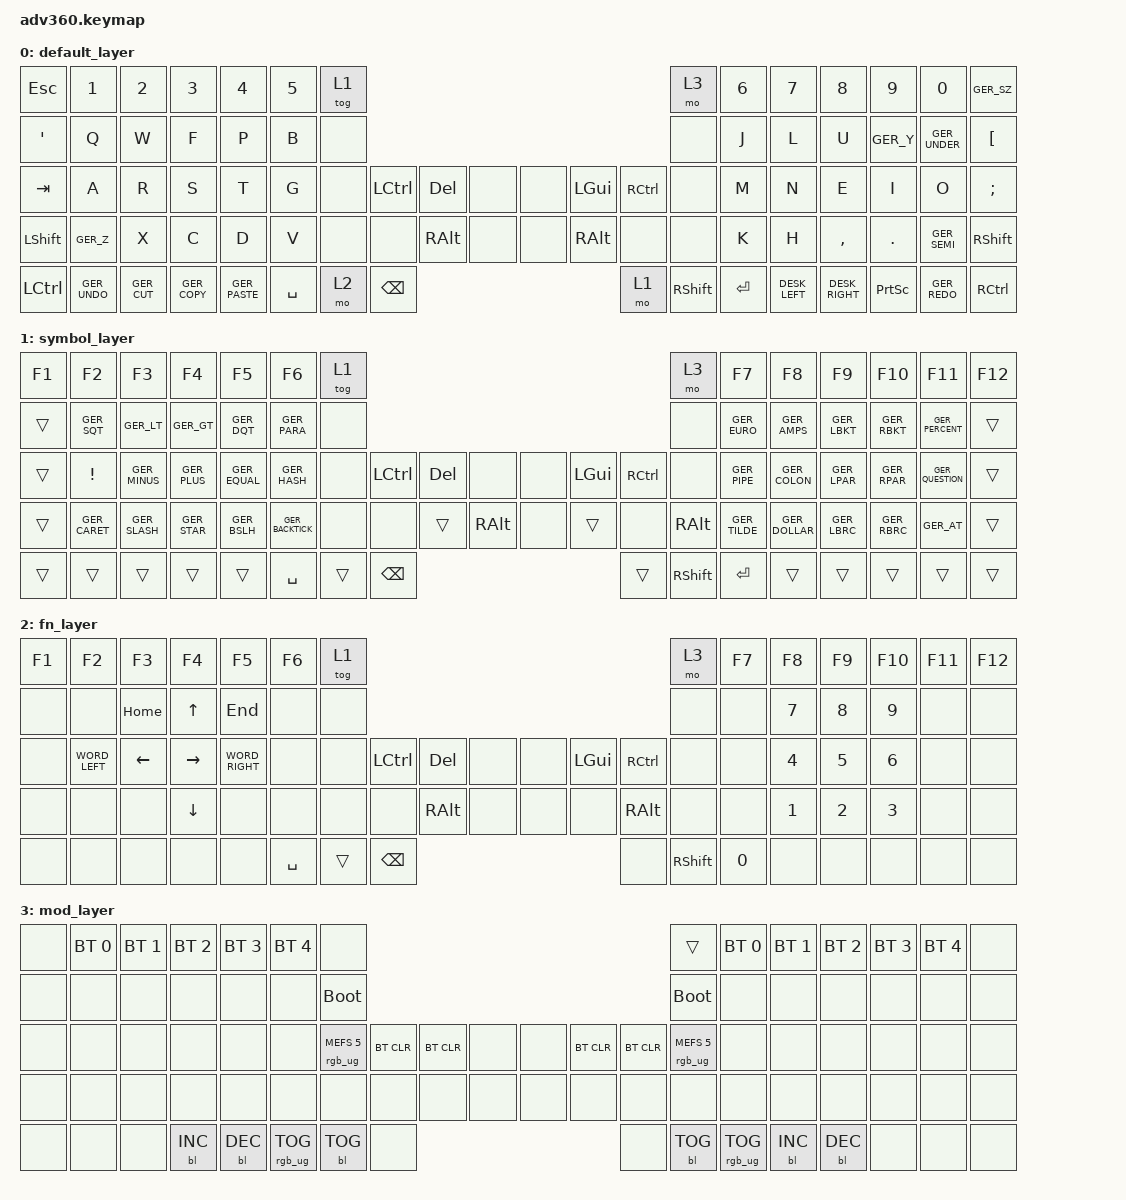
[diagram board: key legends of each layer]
/* Defines Colemak-DHm for programmers with german characters on a Kinesis Advantage 360 */
/* Intended to use with the german keyboard layout. */

/* standard includes for keys, bluetooth, rgb and backlight */
#include <behaviors.dtsi>
#include <dt-bindings/zmk/keys.h>
#include <dt-bindings/zmk/bt.h>
#include <dt-bindings/zmk/rgb.h>
#include <dt-bindings/zmk/backlight.h>

/* Include zmk-nodefree macros for convenience */
#include "../zmk-nodefree-config/helper.h"
#include "../zmk-nodefree-config/keypos_def/keypos_adv360.h"
#include "../zmk-nodefree-config/international_chars/german_alt.dtsi"

/* layer and key shortcuts */
#define ___ &trans
#define DEF 0
#define NAV 1
#define NUM 2
#define GER 3

/* custom behaviors */

// homerow mods
ZMK_BEHAVIOR(hrm, hold_tap,
    flavor = "balanced";
    tapping-term-ms = <280>;
    quick-tap-ms = <125>;
    global-quick-tap;
    bindings = <&kp>, <&kp>;
)

#define GER_Y (ZMK_HID_USAGE(HID_USAGE_KEY, HID_USAGE_KEY_KEYBOARD_Z))
#define GER_Z (ZMK_HID_USAGE(HID_USAGE_KEY, HID_USAGE_KEY_KEYBOARD_Y))

#define GERS_A (LS(ZMK_HID_USAGE(HID_USAGE_KEY, HID_USAGE_KEY_KEYBOARD_A)))
#define GERS_B (LS(ZMK_HID_USAGE(HID_USAGE_KEY, HID_USAGE_KEY_KEYBOARD_B)))
#define GERS_C (LS(ZMK_HID_USAGE(HID_USAGE_KEY, HID_USAGE_KEY_KEYBOARD_C)))
#define GERS_D (LS(ZMK_HID_USAGE(HID_USAGE_KEY, HID_USAGE_KEY_KEYBOARD_D)))
#define GERS_E (LS(ZMK_HID_USAGE(HID_USAGE_KEY, HID_USAGE_KEY_KEYBOARD_E)))
#define GERS_F (LS(ZMK_HID_USAGE(HID_USAGE_KEY, HID_USAGE_KEY_KEYBOARD_F)))
#define GERS_G (LS(ZMK_HID_USAGE(HID_USAGE_KEY, HID_USAGE_KEY_KEYBOARD_G)))
#define GERS_H (LS(ZMK_HID_USAGE(HID_USAGE_KEY, HID_USAGE_KEY_KEYBOARD_H)))
#define GERS_I (LS(ZMK_HID_USAGE(HID_USAGE_KEY, HID_USAGE_KEY_KEYBOARD_I)))
#define GERS_J (LS(ZMK_HID_USAGE(HID_USAGE_KEY, HID_USAGE_KEY_KEYBOARD_J)))
#define GERS_K (LS(ZMK_HID_USAGE(HID_USAGE_KEY, HID_USAGE_KEY_KEYBOARD_K)))
#define GERS_L (LS(ZMK_HID_USAGE(HID_USAGE_KEY, HID_USAGE_KEY_KEYBOARD_L)))
#define GERS_M (LS(ZMK_HID_USAGE(HID_USAGE_KEY, HID_USAGE_KEY_KEYBOARD_M)))
#define GERS_N (LS(ZMK_HID_USAGE(HID_USAGE_KEY, HID_USAGE_KEY_KEYBOARD_N)))
#define GERS_O (LS(ZMK_HID_USAGE(HID_USAGE_KEY, HID_USAGE_KEY_KEYBOARD_O)))
#define GERS_P (LS(ZMK_HID_USAGE(HID_USAGE_KEY, HID_USAGE_KEY_KEYBOARD_P)))
#define GERS_Q (LS(ZMK_HID_USAGE(HID_USAGE_KEY, HID_USAGE_KEY_KEYBOARD_Q)))
#define GERS_R (LS(ZMK_HID_USAGE(HID_USAGE_KEY, HID_USAGE_KEY_KEYBOARD_R)))
#define GERS_S (LS(ZMK_HID_USAGE(HID_USAGE_KEY, HID_USAGE_KEY_KEYBOARD_S)))
#define GERS_T (LS(ZMK_HID_USAGE(HID_USAGE_KEY, HID_USAGE_KEY_KEYBOARD_T)))
#define GERS_U (LS(ZMK_HID_USAGE(HID_USAGE_KEY, HID_USAGE_KEY_KEYBOARD_U)))
#define GERS_V (LS(ZMK_HID_USAGE(HID_USAGE_KEY, HID_USAGE_KEY_KEYBOARD_V)))
#define GERS_W (LS(ZMK_HID_USAGE(HID_USAGE_KEY, HID_USAGE_KEY_KEYBOARD_W)))
#define GERS_X (LS(ZMK_HID_USAGE(HID_USAGE_KEY, HID_USAGE_KEY_KEYBOARD_X)))
#define GERS_Y (LS(ZMK_HID_USAGE(HID_USAGE_KEY, HID_USAGE_KEY_KEYBOARD_Z)))
#define GERS_Z (LS(ZMK_HID_USAGE(HID_USAGE_KEY, HID_USAGE_KEY_KEYBOARD_Y)))

/* German ä */
#define GER_UA (SINGLE_QUOTE)

/* German ü */
#define GER_UU (LEFT_BRACKET)

/* German ö */
#define GER_UO (SEMICOLON)

/* German ß */
#define GER_SZ (MINUS)

/* German Ä */
#define GERS_UA (LS(SINGLE_QUOTE))

/* German Ü */
#define GERS_UU (LS(ZMK_HID_USAGE(HID_USAGE_KEY, HID_USAGE_KEY_KEYBOARD_LEFT_BRACKET_AND_LEFT_BRACE)))

/* German Ö */
#define GERS_UO (LS(ZMK_HID_USAGE(HID_USAGE_KEY, HID_USAGE_KEY_KEYBOARD_SEMICOLON_AND_COLON)))

/* German ; */
#define GER_SEMI (LESS_THAN)

/* German § */
#define GER_PARA (HASH)

/* German ' */
#define GER_SQT (PIPE)

/* German < */
#define GER_LT (ZMK_HID_USAGE(HID_USAGE_KEY, HID_USAGE_KEY_KEYBOARD_NON_US_BACKSLASH_AND_PIPE))

/* German > */
#define GER_GT (LS(ZMK_HID_USAGE(HID_USAGE_KEY, HID_USAGE_KEY_KEYBOARD_NON_US_BACKSLASH_AND_PIPE)))

/* German - */
#define GER_MINUS (SLASH)

// German + */
#define GER_PLUS (RBKT)

/* German * (star) */
#define GER_STAR (RBRC)

/* German / */
#define GER_SLASH (AMPERSAND)

/* German _ */
#define GER_UNDER (QUESTION)

/* German " */
#define GER_DQT (AT)

/* German = */
#define GER_EQUAL (LS(ZMK_HID_USAGE(HID_USAGE_KEY, HID_USAGE_KEY_KEYBOARD_0_AND_RIGHT_PARENTHESIS)))

/* German \ */
#define GER_BSLH (RA(ZMK_HID_USAGE(HID_USAGE_KEY, HID_USAGE_KEY_KEYBOARD_MINUS_AND_UNDERSCORE)))

/* German . */
#define GER_DOT (DOT)

/* German # */
#define GER_HASH (BSLH)

/* German & */
#define GER_AMPS (CARET)

/* German € */
#define GER_EURO (RA(ZMK_HID_USAGE(HID_USAGE_KEY, HID_USAGE_KEY_KEYBOARD_E)))

/* German | */
#define GER_PIPE (RA(ZMK_HID_USAGE(HID_USAGE_KEY, HID_USAGE_KEY_KEYBOARD_NON_US_BACKSLASH_AND_PIPE)))

/* German ~ */
#define GER_TILDE (RA(ZMK_HID_USAGE(HID_USAGE_KEY, HID_USAGE_KEY_KEYBOARD_RIGHT_BRACKET_AND_RIGHT_BRACE)))

/* German : */
#define GER_COLON (GT)

/* German $ */
#define GER_DOLLAR (DOLLAR) 

/* German [ */
#define GER_LBKT (RA(ZMK_HID_USAGE(HID_USAGE_KEY, HID_USAGE_KEY_KEYBOARD_8_AND_ASTERISK)))

/* German ] */
#define GER_RBKT (RA(ZMK_HID_USAGE(HID_USAGE_KEY, HID_USAGE_KEY_KEYBOARD_9_AND_LEFT_PARENTHESIS)))

/* German ( */
#define GER_LPAR (LS(ZMK_HID_USAGE(HID_USAGE_KEY, HID_USAGE_KEY_KEYBOARD_8_AND_ASTERISK))) 

/* German ) */
#define GER_RPAR (LS(ZMK_HID_USAGE(HID_USAGE_KEY, HID_USAGE_KEY_KEYBOARD_9_AND_LEFT_PARENTHESIS))) 

/* German { */
#define GER_LBRC (RA(ZMK_HID_USAGE(HID_USAGE_KEY, HID_USAGE_KEY_KEYBOARD_7_AND_AMPERSAND)))

/* German } */
#define GER_RBRC (RA(ZMK_HID_USAGE(HID_USAGE_KEY, HID_USAGE_KEY_KEYBOARD_0_AND_RIGHT_PARENTHESIS)))

/* German % */
#define GER_PERCENT (PERCENT) 

/* German ? */
#define GER_QUESTION (UNDERSCORE) 

/* German @ */
#define GER_AT (RA(ZMK_HID_USAGE(HID_USAGE_KEY, HID_USAGE_KEY_KEYBOARD_Q)))


#define GER_COPY (LC(C)) 
#define GER_PASTE (LC(V)) 
#define GER_UNDO (LC(Y)) 
#define GER_REDO (LC(Z)) 
#define GER_CUT (LC(X)) 

#define WORD_LEFT (LC(LEFT)) 
#define WORD_RIGHT (LC(RIGHT)) 
#define DESK_LEFT (LG(LC(LEFT))) 
#define DESK_RIGHT (LG(LC(RIGHT))) 

// Backtick (`) dead key
ZMK_BEHAVIOR(GER_BACKTICK, macro,
    wait-ms = <100>;
    tap-ms = <5>;
    bindings = <&kp PLUS &kp SPACE>;
)

// Caret (^) dead key
ZMK_BEHAVIOR(GER_CARET, macro,
    wait-ms = <100>;
    tap-ms = <5>;
    bindings = <&kp GRAVE &kp SPACE>;
)


// Layer 0 - Regular
ZMK_LAYER(default_layer,
        &kp ESC          &kp N1       &kp N2      &kp N3       &kp N4        &kp N5 &tog 1                                                                       &mo 3 &kp N6 &kp N7        &kp N8         &kp N9          &kp N0          &kp GER_SZ
        &kp SINGLE_QUOTE &kp Q        &kp W       &kp F        &kp P         &kp B  &none                                                                        &none &kp J  &kp L         &kp U          &kp GER_Y       &kp GER_UNDER   &kp LEFT_BRACKET
        &kp TAB          &kp A        &kp R       &kp S        &kp T         &kp G  &none            &kp LCTRL &kp DEL   &none &none &kp LGUI  &kp RCTRL         &none &kp M  &kp N         &kp E          &kp I           &kp O           &kp SEMICOLON
        &kp LSHFT        &kp GER_Z    &kp X       &kp C        &kp D         &kp V         &none     &none     &kp RALT  &none &none &kp RALT  &none     &none         &kp K  &kp H         &kp COMMA      &kp DOT         &kp GER_SEMI    &kp RSHFT
        &kp LCTRL        &kp GER_UNDO &kp GER_CUT &kp GER_COPY &kp GER_PASTE               &kp SPACE &mo 2     &kp BSPC              &mo 1     &kp RSHFT &kp RETURN           &kp DESK_LEFT &kp DESK_RIGHT &kp PRINTSCREEN &kp GER_REDO    &kp RCTRL
)

// Layer 1 - Symbol
ZMK_LAYER(symbol_layer,
        &kp F1 &kp F2          &kp F3        &kp F4       &kp F5        &kp F6        &tog 1                                                                    &mo 3  &kp F7        &kp F8         &kp F9          &kp F10       &kp F11          &kp F12
        &trans &kp GER_SQT     &kp GER_LT    &kp GER_GT   &kp GER_DQT   &kp GER_PARA  &none                                                                     &none  &kp GER_EURO  &kp GER_AMPS   &kp GER_LBKT    &kp GER_RBKT  &kp GER_PERCENT  &trans
        &trans &kp EXCLAMATION &kp GER_MINUS &kp GER_PLUS &kp GER_EQUAL &kp GER_HASH  &none            &kp LCTRL &kp DEL  &none &none  &kp LGUI  &kp RCTRL      &none  &kp GER_PIPE  &kp GER_COLON  &kp GER_LPAR    &kp GER_RPAR  &kp GER_QUESTION &trans
        &trans &GER_CARET      &kp GER_SLASH &kp GER_STAR &kp GER_BSLH  &GER_BACKTICK &none  &none     &trans    &kp RALT &none &trans &none     &kp RALT              &kp GER_TILDE &kp GER_DOLLAR &kp GER_LBRC    &kp GER_RBRC  &kp GER_AT       &trans
        &trans &trans          &trans        &trans       &trans                             &kp SPACE &trans    &kp BSPC              &trans    &kp RSHFT &kp RETURN                &trans         &trans          &trans        &trans           &trans
)

// Layer 2 - Function
ZMK_LAYER(fn_layer,
        &kp F1 &kp F2        &kp F3       &kp F4       &kp F5         &kp F6       &tog 1                                                                                                         &mo 3                  &kp F7        &kp F8        &kp F9       &kp F10        &kp F11        &kp F12
        &none  &none         &kp HOME     &kp UP       &kp END        &none        &none                                                                                                          &none                  &none         &kp N7        &kp N8       &kp N9         &none          &none
        &none  &kp WORD_LEFT &kp LEFT     &kp RIGHT    &kp WORD_RIGHT &none        &none                                  &kp LCTRL  &kp DEL    &none &none &kp LGUI   &kp RCTRL                  &none                  &none         &kp N4        &kp N5       &kp N6         &none          &none
        &none  &none         &none        &kp DOWN     &none          &none                               &none           &none      &kp RALT   &none &none &none      &kp RALT   &none                                  &none         &kp N1        &kp N2       &kp N3         &none          &none
        &none  &none         &none        &none        &none                                              &kp SPACE       &trans     &kp BSPC               &none      &kp RSHFT  &kp N0                                               &none         &none        &none          &none          &none
)

// Layer 3 - Mod
ZMK_LAYER(mod_layer,
        &none &bt BT_SEL 0 &bt BT_SEL 1 &bt BT_SEL 2 &bt BT_SEL 3 &bt BT_SEL 4 &none                                                                                                          &trans                 &bt BT_SEL 0 &bt BT_SEL 1 &bt BT_SEL 2 &bt BT_SEL 3 &bt BT_SEL 4 &none
        &none &none        &none        &none        &none        &none        &bootloader                                                                                                    &bootloader            &none        &none        &none        &none        &none        &none
        &none &none        &none        &none        &none        &none        &rgb_ug RGB_MEFS_CMD 5                 &bt BT_CLR &bt BT_CLR &none &none &bt BT_CLR &bt BT_CLR                 &rgb_ug RGB_MEFS_CMD 5 &none        &none        &none        &none        &none        &none
        &none &none        &none        &none        &none        &none                               &none           &none      &none      &none &none &none      &none      &none                                  &none        &none        &none        &none        &none        &none
        &none &none        &none        &bl BL_INC   &bl BL_DEC                                       &rgb_ug RGB_TOG &bl BL_TOG &none                  &none      &bl BL_TOG &rgb_ug RGB_TOG                                     &bl BL_INC   &bl BL_DEC   &none        &none        &none
)
